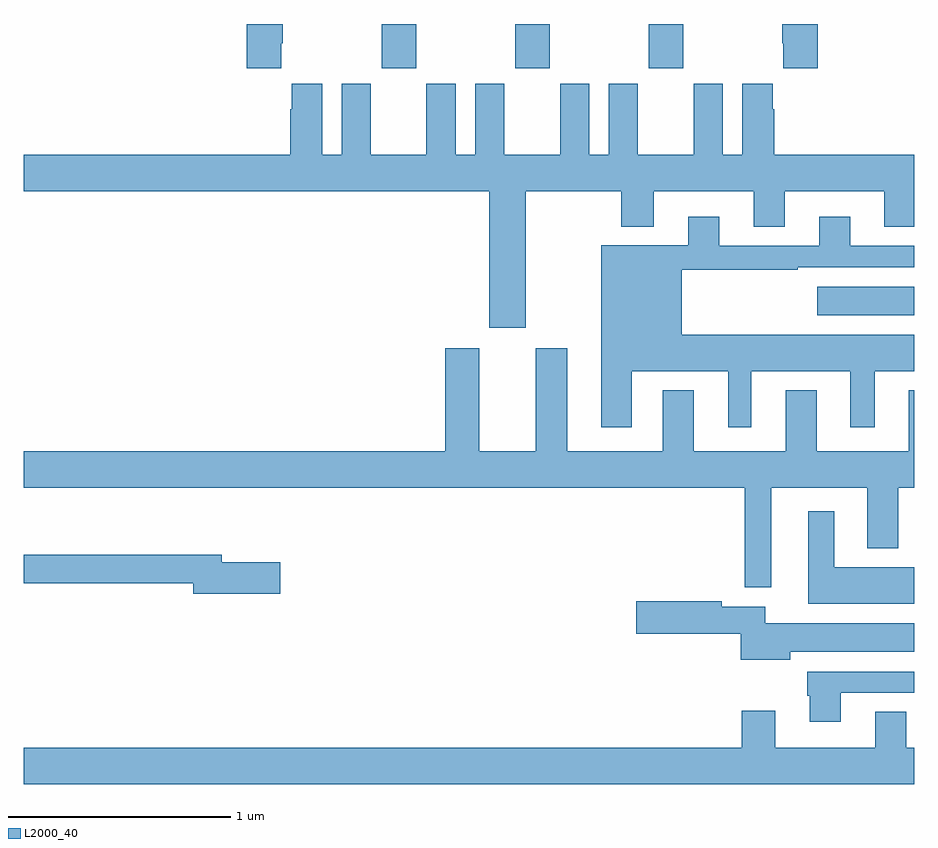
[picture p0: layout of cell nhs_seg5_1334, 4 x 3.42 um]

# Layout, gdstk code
import gdstk
lib = gdstk.Library(unit=1e-6, precision=1e-09)
def R(c, l, rs):  # rectangles x0, y0, x1, y1
    for r in rs: c.add(gdstk.rectangle(r[:2], r[2:], *l))
def A(c, l, x, y, w, h, nx, ny, dx, dy):  # array of equal rectangles
    R(c, l, [(x+i*dx, y+j*dy, x+i*dx+w, y+j*dy+h) for i in range(nx) for j in range(ny)])
def P(c, l, *ps):  # polygons
    for p in ps: c.add(gdstk.Polygon(p, *l))
L2000_40 = (2000, 40)

nhs_seg5_1334 = lib.new_cell('nhs_seg5_1334')
A(nhs_seg5_1334, L2000_40, 192.607, 902.601, 0.155, 0.198, 3, 1, 0.6, 0)
R(nhs_seg5_1334, L2000_40, [(194.565,901.49,195,901.618)])
P(nhs_seg5_1334, L2000_40, [(192.157,902.713),(192.162,902.713),(192.162,902.799),(192.002,902.799),(192.002,902.601),(192.157,902.601)],
  [(194.567,902.799),(194.407,902.799),(194.407,902.713),(194.411,902.713),(194.411,902.601),(194.567,902.601)],
  [(193.255,902.048),(193.684,902.048),(193.684,901.889),(193.831,901.889),(193.831,902.048),(194.279,902.048),(194.279,901.888),(194.419,901.888),(194.419,902.048),(194.867,902.048),(194.867,901.888),(195,901.888),(195,902.212),(194.372,902.212),(194.372,902.417),(194.365,902.417),(194.365,902.53),(194.228,902.53),(194.228,902.212),(194.14,902.212),(194.14,902.53),(194.009,902.53),(194.009,902.212),(193.759,902.212),(193.759,902.53),(193.628,902.53),(193.628,902.212),(193.54,902.212),(193.54,902.53),(193.409,902.53),(193.409,902.212),(193.159,902.212),(193.159,902.53),(193.028,902.53),(193.028,902.212),(192.94,902.212),(192.94,902.53),(192.809,902.53),(192.809,902.212),(192.559,902.212),(192.559,902.53),(192.428,902.53),(192.428,902.212),(192.34,902.212),(192.34,902.53),(192.203,902.53),(192.203,902.417),(192.197,902.417),(192.197,902.212),(191,902.212),(191,902.048),(193.091,902.048),(193.091,901.434),(193.255,901.434)],
  [(193.732,901.238),(194.165,901.238),(194.165,900.987),(194.269,900.987),(194.269,901.238),(194.714,901.238),(194.714,900.987),(194.824,900.987),(194.824,901.238),(195,901.238),(195,901.402),(193.957,901.402),(193.957,901.695),(194.477,901.695),(194.477,901.707),(195,901.707),(195,901.803),(194.713,901.803),(194.713,901.933),(194.573,901.933),(194.573,901.803),(194.125,901.803),(194.125,901.933),(193.985,901.933),(193.985,901.804),(193.595,901.804),(193.595,900.987),(193.732,900.987)],
  [(194.359,900.716),(194.789,900.716),(194.789,900.443),(194.929,900.443),(194.929,900.716),(195,900.716),(195,901.153),(194.975,901.153),(194.975,900.88),(194.563,900.88),(194.563,901.153),(194.423,901.153),(194.423,900.88),(194.011,900.88),(194.011,901.153),(193.871,901.153),(193.871,900.88),(193.441,900.88),(193.441,901.342),(193.301,901.342),(193.301,900.88),(193.045,900.88),(193.045,901.342),(192.893,901.342),(192.893,900.88),(191,900.88),(191,900.716),(194.238,900.716),(194.238,900.267),(194.359,900.267)],
  [(195,900.358),(194.641,900.358),(194.641,900.61),(194.525,900.61),(194.525,900.194),(195,900.194)],
  [(192.151,900.381),(191.89,900.381),(191.89,900.415),(191,900.415),(191,900.286),(191.762,900.286),(191.762,900.239),(192.151,900.239)],
  [(194.443,899.978),(195,899.978),(195,900.106),(194.332,900.106),(194.332,900.181),(194.136,900.181),(194.136,900.206),(193.752,900.206),(193.752,900.059),(194.222,900.059),(194.222,899.942),(194.443,899.942)],
  [(194.671,899.793),(195,899.793),(195,899.889),(194.519,899.889),(194.519,899.781),(194.531,899.781),(194.531,899.664),(194.671,899.664)],
  [(195,899.548),(194.965,899.548),(194.965,899.708),(194.825,899.708),(194.825,899.548),(194.377,899.548),(194.377,899.713),(194.225,899.713),(194.225,899.548),(191,899.548),(191,899.384),(195,899.384)])

lib.write_gds('nhs_seg5_1334.gds')
